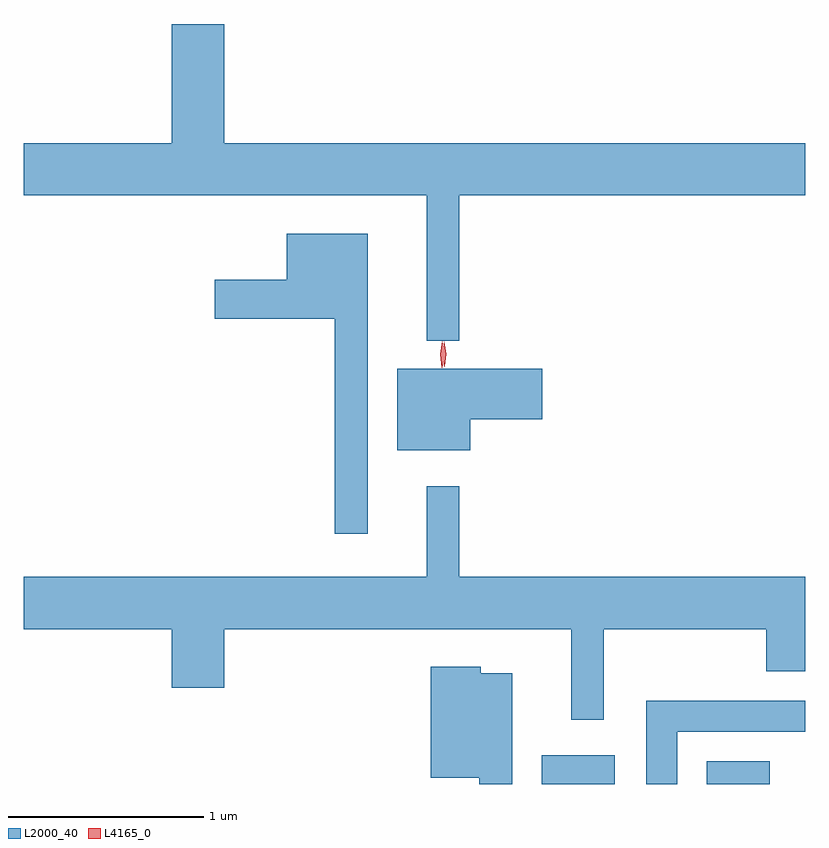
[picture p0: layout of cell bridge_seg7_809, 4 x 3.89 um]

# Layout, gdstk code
import gdstk
lib = gdstk.Library(unit=1e-6, precision=1e-09)
def R(c, l, rs):  # rectangles x0, y0, x1, y1
    for r in rs: c.add(gdstk.rectangle(r[:2], r[2:], *l))
def P(c, l, *ps):  # polygons
    for p in ps: c.add(gdstk.Polygon(p, *l))
L2000_40 = (2000, 40)
L4165_0 = (4165, 0)

bridge_seg7_809 = lib.new_cell('bridge_seg7_809')
R(bridge_seg7_809, L2000_40, [(236.951,1773.463,237.324,1773.609), (237.796,1773.463,238.119,1773.579)])
P(bridge_seg7_809, L2000_40, [(236.529,1776.476),(238.299,1776.476),(238.299,1776.744),(235.324,1776.744),(235.324,1777.354),(235.056,1777.354),(235.056,1776.744),(234.299,1776.744),(234.299,1776.476),(236.361,1776.476),(236.361,1775.733),(236.529,1775.733)],
  [(236.059,1776.279),(235.646,1776.279),(235.646,1776.044),(235.276,1776.044),(235.276,1775.846),(235.891,1775.846),(235.891,1774.743),(236.059,1774.743)],
  [(236.584,1775.331),(236.954,1775.331),(236.954,1775.589),(236.211,1775.589),(236.211,1775.171),(236.584,1775.171)],
  [(236.529,1774.988),(236.361,1774.988),(236.361,1774.524),(234.299,1774.524),(234.299,1774.256),(235.056,1774.256),(235.056,1773.956),(235.324,1773.956),(235.324,1774.256),(237.101,1774.256),(237.101,1773.793),(237.269,1773.793),(237.269,1774.256),(238.101,1774.256),(238.101,1774.041),(238.299,1774.041),(238.299,1774.524),(236.529,1774.524)],
  [(236.799,1774.029),(236.639,1774.029),(236.639,1774.064),(236.381,1774.064),(236.381,1773.496),(236.631,1773.496),(236.631,1773.463),(236.799,1773.463)],
  [(237.644,1773.731),(238.299,1773.731),(238.299,1773.889),(237.486,1773.889),(237.486,1773.463),(237.644,1773.463)])
P(bridge_seg7_809, L4165_0, [(236.439,1775.594),(236.431,1775.662),(236.441,1775.73),(236.442,1775.73),(236.442,1775.73),(236.451,1775.662),(236.44,1775.594),(236.44,1775.594)],
  [(236.453,1775.6),(236.452,1775.601),(236.442,1775.664),(236.451,1775.726),(236.451,1775.727),(236.452,1775.726),(236.462,1775.664),(236.453,1775.601)])

lib.write_gds('bridge_seg7_809.gds')
